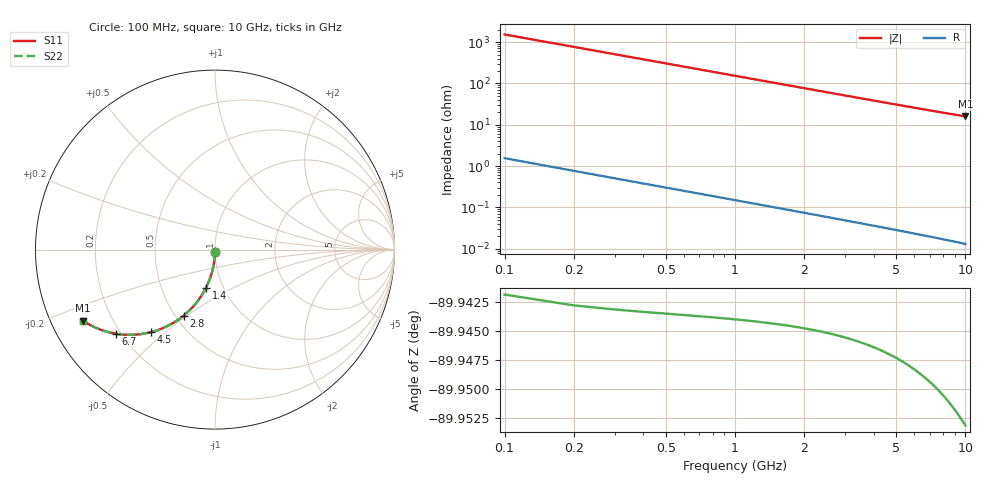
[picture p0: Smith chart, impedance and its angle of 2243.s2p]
# Hz S RI R 50.00
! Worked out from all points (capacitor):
!   100 points, 100 MHz to 10 GHz, reference 50 ohm
!   read as one part in shunt: C = 1.04 pF near 100 MHz
!   lowest |Z| = 15.9 ohm at 10 GHz (marker M1)
!   S11 on the Smith chart (normalised r, x): 100 MHz: 1.00, -0.03; 1.4 GHz: 0.83, -0.37; 2.8 GHz: 0.55, -0.49; 4.5 GHz: 0.32, -0.45; 6.7 GHz: 0.18, -0.36; 10 GHz: 0.09, -0.25
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1e8  -0.000191 -0.0159  0.9996 -0.0168  0.9996 -0.0168  -0.000191 -0.0159
2e8  -0.00101 -0.0318  0.9988 -0.0335  0.9988 -0.0335  -0.00101 -0.0318
3e8  -0.00235 -0.0477  0.9975 -0.0502  0.9975 -0.0502  -0.00235 -0.0477
4e8  -0.00423 -0.0635  0.9956 -0.0668  0.9956 -0.0668  -0.00423 -0.0635
5e8  -0.00662 -0.0792  0.9932 -0.0833  0.9932 -0.0833  -0.00662 -0.0792
6e8  -0.00953 -0.0947  0.9903 -0.0997  0.9903 -0.0997  -0.00953 -0.0947
7e8  -0.0129 -0.1101  0.9868 -0.1159  0.9868 -0.1159  -0.0129 -0.1101
9e8  -0.0213 -0.1404  0.9785 -0.1478  0.9785 -0.1478  -0.0213 -0.1404
1.1e9  -0.0314 -0.1698  0.9683 -0.1788  0.9683 -0.1788  -0.0314 -0.1698
1.4e9  -0.05 -0.2119  0.9498 -0.2234  0.9498 -0.2234  -0.05 -0.2119
1.8e9  -0.0801 -0.2637  0.9196 -0.2786  0.9196 -0.2786  -0.0801 -0.2637
2.3e9  -0.1246 -0.3204  0.8751 -0.3394  0.8751 -0.3394  -0.1246 -0.3204
2.8e9  -0.1744 -0.3675  0.8252 -0.3907  0.8252 -0.3907  -0.1744 -0.3675
3.4e9  -0.2378 -0.4113  0.7616 -0.4396  0.7616 -0.4396  -0.2378 -0.4113
3.9e9  -0.2915 -0.4379  0.7078 -0.4704  0.7078 -0.4704  -0.2915 -0.4379
4.5e9  -0.3546 -0.4592  0.6445 -0.4968  0.6445 -0.4968  -0.3546 -0.4592
5.1e9  -0.4144 -0.4708  0.5845 -0.5136  0.5845 -0.5136  -0.4144 -0.4708
5.9e9  -0.4875 -0.4745  0.511 -0.5242  0.511 -0.5242  -0.4875 -0.4745
6.7e9  -0.5521 -0.4683  0.4461 -0.525  0.4461 -0.525  -0.5521 -0.4683
7.5e9  -0.6082 -0.4555  0.3895 -0.5192  0.3895 -0.5192  -0.6082 -0.4555
8.4e9  -0.6621 -0.4361  0.3351 -0.5079  0.3351 -0.5079  -0.6621 -0.4361
1e10  -0.7374 -0.3952  0.2586 -0.4817  0.2586 -0.4817  -0.7374 -0.3952
